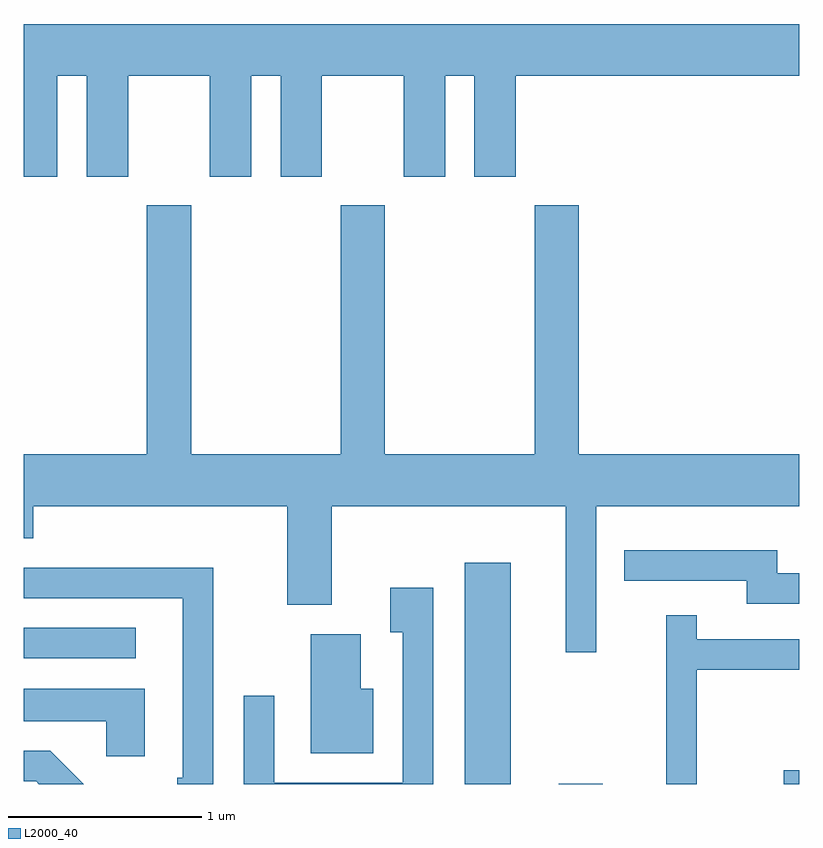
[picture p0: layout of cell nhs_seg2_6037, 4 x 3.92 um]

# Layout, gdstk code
import gdstk
lib = gdstk.Library(unit=1e-6, precision=1e-09)
def R(c, l, rs):  # rectangles x0, y0, x1, y1
    for r in rs: c.add(gdstk.rectangle(r[:2], r[2:], *l))
def P(c, l, *ps):  # polygons
    for p in ps: c.add(gdstk.Polygon(p, *l))
L2000_40 = (2000, 40)

nhs_seg2_6037 = lib.new_cell('nhs_seg2_6037')
R(nhs_seg2_6037, L2000_40, [(365.886,1015.802,366.124,1016.944), (366.371,1015.802,366.599,1015.804), (367.531,1015.802,367.611,1015.874), (363.611,1016.451,364.188,1016.609)])
P(nhs_seg2_6037, L2000_40, [(363.784,1019.456),(363.936,1019.456),(363.936,1018.936),(364.149,1018.936),(364.149,1019.456),(364.571,1019.456),(364.571,1018.936),(364.784,1018.936),(364.784,1019.456),(364.936,1019.456),(364.936,1018.936),(365.149,1018.936),(365.149,1019.456),(365.571,1019.456),(365.571,1018.936),(365.784,1018.936),(365.784,1019.456),(365.936,1019.456),(365.936,1018.936),(366.149,1018.936),(366.149,1019.456),(367.611,1019.456),(367.611,1019.724),(363.611,1019.724),(363.611,1018.936),(363.784,1018.936)],
  [(366.564,1017.236),(367.611,1017.236),(367.611,1017.504),(366.474,1017.504),(366.474,1018.789),(366.246,1018.789),(366.246,1017.504),(365.474,1017.504),(365.474,1018.789),(365.246,1018.789),(365.246,1017.504),(364.474,1017.504),(364.474,1018.789),(364.246,1018.789),(364.246,1017.504),(363.611,1017.504),(363.611,1017.071),(363.659,1017.071),(363.659,1017.236),(364.971,1017.236),(364.971,1016.726),(365.199,1016.726),(365.199,1017.236),(366.406,1017.236),(366.406,1016.483),(366.564,1016.483)],
  [(367.611,1016.889),(367.499,1016.889),(367.499,1017.009),(366.708,1017.009),(366.708,1016.851),(367.341,1016.851),(367.341,1016.731),(367.611,1016.731)],
  [(364.589,1016.919),(363.611,1016.919),(363.611,1016.761),(364.431,1016.761),(364.431,1015.834),(364.401,1015.834),(364.401,1015.802),(364.589,1015.802)],
  [(365.724,1016.814),(365.501,1016.814),(365.501,1016.586),(365.566,1016.586),(365.566,1015.809),(364.904,1015.809),(364.904,1016.258),(364.746,1016.258),(364.746,1015.802),(365.724,1015.802)],
  [(367.084,1016.391),(367.611,1016.391),(367.611,1016.549),(367.084,1016.549),(367.084,1016.673),(366.926,1016.673),(366.926,1015.802),(367.084,1015.802)],
  [(365.414,1016.294),(365.349,1016.294),(365.349,1016.574),(365.091,1016.574),(365.091,1015.961),(365.414,1015.961)],
  [(364.234,1016.294),(363.611,1016.294),(363.611,1016.126),(364.036,1016.126),(364.036,1015.946),(364.234,1015.946)],
  [(363.747,1015.974),(363.611,1015.974),(363.611,1015.816),(363.674,1015.816),(363.688,1015.802),(363.919,1015.802)])

lib.write_gds('nhs_seg2_6037.gds')
